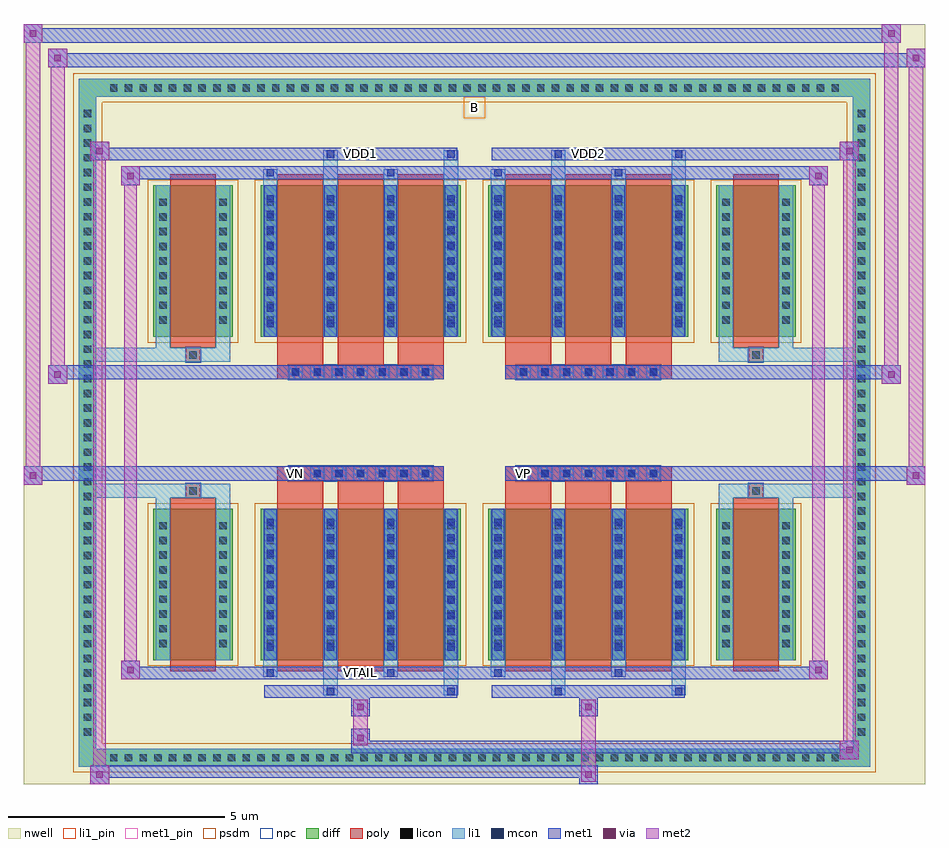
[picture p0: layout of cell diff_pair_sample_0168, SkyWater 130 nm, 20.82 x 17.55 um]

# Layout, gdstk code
import gdstk
lib = gdstk.Library(unit=1e-6, precision=5e-09)
def R(c, l, rs):  # rectangles x0, y0, x1, y1
    for r in rs: c.add(gdstk.rectangle(r[:2], r[2:], *l))
def A(c, l, x, y, w, h, nx, ny, dx, dy):  # array of equal rectangles
    R(c, l, [(x+i*dx, y+j*dy, x+i*dx+w, y+j*dy+h) for i in range(nx) for j in range(ny)])
def P(c, l, *ps):  # polygons
    for p in ps: c.add(gdstk.Polygon(p, *l))
nwell = (64, 20)
diff = (65, 20)
poly = (66, 20)
licon = (66, 44)
li1_pin = (67, 16)
li1 = (67, 20)
mcon = (67, 44)
met1_pin = (68, 16)
met1 = (68, 20)
via = (68, 44)
met2 = (69, 20)
psdm = (94, 20)
npc = (95, 20)

diff_pair_sample_0168 = lib.new_cell('diff_pair_sample_0168')
R(diff_pair_sample_0168, nwell, [(-10.41,-8.34,10.41,9.21), (-7.73,-6.53,-0.01,-0.805), (0.01,-6.53,7.73,-0.805), (-7.73,0.805,-0.01,6.53), (0.01,0.805,7.73,6.53)])
A(diff_pair_sample_0168, diff, -8.535, -7.94, 0.41, 0.41, 50, 2, 0.34, 15.47)
A(diff_pair_sample_0168, diff, -9.14, -7.345, 0.41, 0.41, 1, 43, 0, 0.34)
A(diff_pair_sample_0168, diff, 8.73, -7.345, 0.41, 0.41, 1, 43, 0, 0.34)
R(diff_pair_sample_0168, diff, [(-8.535,-7.94,8.535,-7.53), (-9.14,-7.345,-8.73,7.345), (8.73,-7.345,9.14,7.345), (-7.42,-5.485,-5.58,-1.985), (-4.94,-5.485,-0.32,-1.985), (0.32,-5.485,4.94,-1.985), (5.58,-5.485,7.42,-1.985), (-7.42,1.985,-5.58,5.485), (-4.94,1.985,-0.32,5.485), (0.32,1.985,4.94,5.485), (5.58,1.985,7.42,5.485), (-8.535,7.53,8.535,7.94)])
P(diff_pair_sample_0168, diff, [(9.14,7.94),(-9.14,7.94),(-9.14,-7.53),(-8.73,-7.53),(-8.73,7.53),(8.73,7.53),(8.73,-7.53),(-8.73,-7.53),(-9.14,-7.53),(-9.14,-7.94),(9.14,-7.94)])
A(diff_pair_sample_0168, poly, -4.55, -5.735, 1.06, 4, 3, 2, 1.39, 7.47)
A(diff_pair_sample_0168, poly, 0.71, -5.735, 1.06, 4, 3, 2, 1.39, 7.47)
A(diff_pair_sample_0168, poly, -4.55, -1.735, 1.06, 0.4, 3, 2, 1.39, 3.07)
A(diff_pair_sample_0168, poly, 0.71, -1.735, 1.06, 0.4, 3, 2, 1.39, 3.07)
A(diff_pair_sample_0168, poly, -4.295, -1.335, 0.33, 0.33, 7, 2, 0.5, 2.34)
A(diff_pair_sample_0168, poly, 0.965, -1.335, 0.33, 0.33, 7, 2, 0.5, 2.34)
R(diff_pair_sample_0168, poly, [(-7.03,-5.735,-5.97,-1.735), (5.97,-5.735,7.03,-1.735), (-6.665,-1.735,-6.335,-1.405), (-6.665,-1.735,-6.335,-1.405), (6.335,-1.735,6.665,-1.405), (6.335,-1.735,6.665,-1.405), (-4.55,-1.335,-0.71,-1.005), (0.71,-1.335,4.55,-1.005), (-4.55,1.005,-0.71,1.335), (0.71,1.005,4.55,1.335), (-6.665,1.405,-6.335,1.735), (-6.665,1.405,-6.335,1.735), (6.335,1.405,6.665,1.735), (6.335,1.405,6.665,1.735), (-7.03,1.735,-5.97,5.735), (5.97,1.735,7.03,5.735)])
A(diff_pair_sample_0168, licon, -8.415, -7.82, 0.17, 0.17, 50, 2, 0.34, 15.47)
A(diff_pair_sample_0168, licon, -9.02, -7.225, 0.17, 0.17, 1, 43, 0, 0.34)
A(diff_pair_sample_0168, licon, 8.85, -7.225, 0.17, 0.17, 1, 43, 0, 0.34)
A(diff_pair_sample_0168, licon, -7.28, -5.18, 0.17, 0.17, 1, 9, 0, 0.34)
A(diff_pair_sample_0168, licon, -5.89, -5.18, 0.17, 0.17, 1, 9, 0, 0.34)
A(diff_pair_sample_0168, licon, -4.8, -5.18, 0.17, 0.17, 4, 9, 1.39, 0.34)
A(diff_pair_sample_0168, licon, 0.46, -5.18, 0.17, 0.17, 4, 9, 1.39, 0.34)
A(diff_pair_sample_0168, licon, 5.72, -5.18, 0.17, 0.17, 1, 9, 0, 0.34)
A(diff_pair_sample_0168, licon, 7.11, -5.18, 0.17, 0.17, 1, 9, 0, 0.34)
A(diff_pair_sample_0168, licon, -4.215, -1.255, 0.17, 0.17, 7, 2, 0.5, 2.34)
A(diff_pair_sample_0168, licon, 1.045, -1.255, 0.17, 0.17, 7, 2, 0.5, 2.34)
A(diff_pair_sample_0168, licon, -7.28, 2.29, 0.17, 0.17, 1, 9, 0, 0.34)
A(diff_pair_sample_0168, licon, -5.89, 2.29, 0.17, 0.17, 1, 9, 0, 0.34)
A(diff_pair_sample_0168, licon, -4.8, 2.29, 0.17, 0.17, 4, 9, 1.39, 0.34)
A(diff_pair_sample_0168, licon, 0.46, 2.29, 0.17, 0.17, 4, 9, 1.39, 0.34)
A(diff_pair_sample_0168, licon, 5.72, 2.29, 0.17, 0.17, 1, 9, 0, 0.34)
A(diff_pair_sample_0168, licon, 7.11, 2.29, 0.17, 0.17, 1, 9, 0, 0.34)
R(diff_pair_sample_0168, licon, [(-6.585,-1.655,-6.415,-1.485), (6.415,-1.655,6.585,-1.485), (-6.585,1.485,-6.415,1.655), (6.415,1.485,6.585,1.655)])
R(diff_pair_sample_0168, li1_pin, [(-0.25,7.03,0.25,7.53)])
A(diff_pair_sample_0168, li1, -8.495, -7.9, 0.33, 0.33, 50, 2, 0.34, 15.47)
A(diff_pair_sample_0168, li1, -9.1, -7.305, 0.33, 0.33, 1, 43, 0, 0.34)
A(diff_pair_sample_0168, li1, 8.77, -7.305, 0.33, 0.33, 1, 43, 0, 0.34)
A(diff_pair_sample_0168, li1, -4.88, -5.485, 0.33, 3.5, 4, 2, 1.39, 7.47)
A(diff_pair_sample_0168, li1, 0.38, -5.485, 0.33, 3.5, 4, 2, 1.39, 7.47)
A(diff_pair_sample_0168, li1, -7.36, -5.26, 0.33, 0.33, 1, 9, 0, 0.34)
A(diff_pair_sample_0168, li1, -5.97, -5.26, 0.33, 0.33, 1, 9, 0, 0.34)
A(diff_pair_sample_0168, li1, -4.88, -5.26, 0.33, 0.33, 4, 9, 1.39, 0.34)
A(diff_pair_sample_0168, li1, -4.8, -5.26, 0.17, 0.17, 4, 9, 1.39, 0.36)
A(diff_pair_sample_0168, li1, -4.8, -5.26, 0.17, 3.05, 4, 2, 1.39, 7.47)
A(diff_pair_sample_0168, li1, 0.38, -5.26, 0.33, 0.33, 4, 9, 1.39, 0.34)
A(diff_pair_sample_0168, li1, 0.46, -5.26, 0.17, 0.17, 4, 9, 1.39, 0.36)
A(diff_pair_sample_0168, li1, 0.46, -5.26, 0.17, 3.05, 4, 2, 1.39, 7.47)
A(diff_pair_sample_0168, li1, 5.64, -5.26, 0.33, 0.33, 1, 9, 0, 0.34)
A(diff_pair_sample_0168, li1, 7.03, -5.26, 0.33, 0.33, 1, 9, 0, 0.34)
A(diff_pair_sample_0168, li1, -4.295, -1.335, 0.33, 0.33, 7, 2, 0.5, 2.34)
A(diff_pair_sample_0168, li1, 0.965, -1.335, 0.33, 0.33, 7, 2, 0.5, 2.34)
A(diff_pair_sample_0168, li1, -7.36, 2.21, 0.33, 0.33, 1, 9, 0, 0.34)
A(diff_pair_sample_0168, li1, -5.97, 2.21, 0.33, 0.33, 1, 9, 0, 0.34)
A(diff_pair_sample_0168, li1, -4.88, 2.21, 0.33, 0.33, 4, 9, 1.39, 0.34)
A(diff_pair_sample_0168, li1, -4.8, 2.21, 0.17, 0.17, 4, 9, 1.39, 0.36)
A(diff_pair_sample_0168, li1, 0.38, 2.21, 0.33, 0.33, 4, 9, 1.39, 0.34)
A(diff_pair_sample_0168, li1, 0.46, 2.21, 0.17, 0.17, 4, 9, 1.39, 0.36)
A(diff_pair_sample_0168, li1, 5.64, 2.21, 0.33, 0.33, 1, 9, 0, 0.34)
A(diff_pair_sample_0168, li1, 7.03, 2.21, 0.33, 0.33, 1, 9, 0, 0.34)
R(diff_pair_sample_0168, li1, [(-9.14,-7.94,-8.73,-7.53), (-9.14,-7.94,-8.73,-7.53), (-8.73,-7.94,8.73,-7.53), (8.73,-7.94,9.14,-7.53), (8.73,-7.94,9.14,-7.53), (-9.14,-7.53,-8.73,7.53), (8.73,-7.53,9.14,7.53), (-3.49,-6.29,-3.16,-5.485), (-3.41,-6.29,-3.24,-6.12), (-0.71,-6.29,-0.38,-5.485), (-0.63,-6.29,-0.46,-6.12), (1.77,-6.29,2.1,-5.485), (1.85,-6.29,2.02,-6.12), (4.55,-6.29,4.88,-5.485), (4.63,-6.29,4.8,-6.12), (-4.88,-5.86,-4.55,-5.485), (-4.8,-5.86,-4.63,-5.69), (-2.1,-5.86,-1.77,-5.485), (-2.02,-5.86,-1.85,-5.69), (0.38,-5.86,0.71,-5.485), (0.46,-5.86,0.63,-5.69), (3.16,-5.86,3.49,-5.485), (3.24,-5.86,3.41,-5.69), (-7.36,-5.485,-7.03,-1.985), (-5.97,-5.485,-5.64,-1.985), (5.64,-5.485,5.97,-1.985), (7.03,-5.485,7.36,-1.985), (-7.36,-1.985,-7.03,-1.405), (-5.97,-1.985,-5.64,-1.405), (5.64,-1.985,5.97,-1.405), (7.03,-1.985,7.36,-1.405), (-9.14,-1.735,-6.665,-1.405), (-7.36,-1.735,-6.665,-1.405), (-6.665,-1.735,-6.335,-1.405), (-6.335,-1.735,-5.64,-1.405), (5.64,-1.735,6.335,-1.405), (6.335,-1.735,6.665,-1.405), (6.335,-1.735,9.14,-1.405), (6.665,-1.735,7.36,-1.405), (-9.14,1.405,-6.665,1.735), (-7.36,1.405,-6.665,1.735), (-7.36,1.405,-7.03,1.985), (-6.665,1.405,-6.335,1.735), (-6.335,1.405,-5.64,1.735), (-5.97,1.405,-5.64,1.985), (5.64,1.405,6.335,1.735), (5.64,1.405,5.97,1.985), (6.335,1.405,6.665,1.735), (6.335,1.405,9.14,1.735), (6.665,1.405,7.36,1.735), (7.03,1.405,7.36,1.985), (-7.36,1.985,-7.03,5.485), (-5.97,1.985,-5.64,5.485), (5.64,1.985,5.97,5.485), (7.03,1.985,7.36,5.485), (-4.88,5.485,-4.55,5.86), (-3.49,5.485,-3.16,6.29), (-2.1,5.485,-1.77,5.86), (-0.71,5.485,-0.38,6.29), (0.38,5.485,0.71,5.86), (1.77,5.485,2.1,6.29), (3.16,5.485,3.49,5.86), (4.55,5.485,4.88,6.29), (-4.8,5.69,-4.63,5.86), (-2.02,5.69,-1.85,5.86), (0.46,5.69,0.63,5.86), (3.24,5.69,3.41,5.86), (-3.41,6.12,-3.24,6.29), (-0.63,6.12,-0.46,6.29), (1.85,6.12,2.02,6.29), (4.63,6.12,4.8,6.29), (-9.14,7.53,-8.73,7.94), (-9.14,7.53,-8.73,7.94), (-8.73,7.53,8.73,7.94), (8.73,7.53,9.14,7.94), (8.73,7.53,9.14,7.94)])
A(diff_pair_sample_0168, mcon, -4.8, -5.26, 0.17, 0.17, 4, 9, 1.39, 0.36)
A(diff_pair_sample_0168, mcon, 0.46, -5.26, 0.17, 0.17, 4, 9, 1.39, 0.36)
A(diff_pair_sample_0168, mcon, -4.215, -1.255, 0.17, 0.17, 7, 2, 0.5, 2.34)
A(diff_pair_sample_0168, mcon, 1.045, -1.255, 0.17, 0.17, 7, 2, 0.5, 2.34)
A(diff_pair_sample_0168, mcon, -4.8, 2.21, 0.17, 0.17, 4, 9, 1.39, 0.36)
A(diff_pair_sample_0168, mcon, 0.46, 2.21, 0.17, 0.17, 4, 9, 1.39, 0.36)
R(diff_pair_sample_0168, mcon, [(-3.41,-6.29,-3.24,-6.12), (-0.63,-6.29,-0.46,-6.12), (1.85,-6.29,2.02,-6.12), (4.63,-6.29,4.8,-6.12), (-4.8,-5.86,-4.63,-5.69), (-2.02,-5.86,-1.85,-5.69), (0.46,-5.86,0.63,-5.69), (3.24,-5.86,3.41,-5.69), (-4.8,5.69,-4.63,5.86), (-2.02,5.69,-1.85,5.86), (0.46,5.69,0.63,5.86), (3.24,5.69,3.41,5.86), (-3.41,6.12,-3.24,6.29), (-0.63,6.12,-0.46,6.29), (1.85,6.12,2.02,6.29), (4.63,6.12,4.8,6.29)])
R(diff_pair_sample_0168, met1_pin, [(-2.765,-5.9,-2.495,-5.63), (-4.265,-1.295,-3.995,-1.025), (0.995,-1.295,1.265,-1.025), (-2.765,6.08,-2.495,6.35), (2.495,6.08,2.765,6.35)])
A(diff_pair_sample_0168, met1, -4.86, -5.485, 0.29, 3.5, 4, 2, 1.39, 7.47)
A(diff_pair_sample_0168, met1, 0.4, -5.485, 0.29, 3.5, 4, 2, 1.39, 7.47)
A(diff_pair_sample_0168, met1, -4.86, -5.32, 0.29, 0.29, 4, 9, 1.39, 0.36)
A(diff_pair_sample_0168, met1, 0.4, -5.32, 0.29, 0.29, 4, 9, 1.39, 0.36)
A(diff_pair_sample_0168, met1, -4.275, -1.315, 0.29, 0.29, 7, 2, 0.5, 2.34)
A(diff_pair_sample_0168, met1, 0.985, -1.315, 0.29, 0.29, 7, 2, 0.5, 2.34)
A(diff_pair_sample_0168, met1, -4.86, 2.15, 0.29, 0.29, 4, 9, 1.39, 0.36)
A(diff_pair_sample_0168, met1, 0.4, 2.15, 0.29, 0.29, 4, 9, 1.39, 0.36)
R(diff_pair_sample_0168, met1, [(-8.87,-8.34,-8.44,-7.91), (2.415,-8.34,2.845,-7.91), (-8.87,-8.2,2.845,-7.91), (8.44,-7.77,8.87,-7.34), (-2.845,-7.63,8.87,-7.34), (-2.845,-7.49,-2.415,-7.06), (-2.845,-6.78,-2.415,-6.35), (2.415,-6.78,2.845,-6.35), (-4.86,-6.35,-0.4,-6.06), (-3.47,-6.35,-3.18,-6.06), (-0.69,-6.35,-0.4,-6.06), (0.4,-6.35,4.86,-6.06), (1.79,-6.35,2.08,-6.06), (4.57,-6.35,4.86,-6.06), (-8.16,-5.92,-7.73,-5.49), (-8.16,-5.92,-4.86,-5.63), (-4.86,-5.92,-4.57,-5.63), (-4.86,-5.92,-0.4,-5.63), (-2.08,-5.92,-1.79,-5.63), (-0.4,-5.92,0.4,-5.63), (0.4,-5.92,0.69,-5.63), (0.4,-5.92,4.86,-5.63), (3.18,-5.92,3.47,-5.63), (4.86,-5.92,8.16,-5.63), (7.73,-5.92,8.16,-5.49), (-10.41,-1.435,-9.98,-1.005), (9.98,-1.435,10.41,-1.005), (-10.41,-1.335,-0.71,-1.005), (-4.55,-1.335,-0.71,-1.005), (0.71,-1.335,4.55,-1.005), (0.71,-1.335,10.41,-1.005), (-9.84,0.905,-9.41,1.335), (9.41,0.905,9.84,1.335), (-9.84,1.005,-4.55,1.335), (-4.55,1.005,-0.71,1.335), (0.71,1.005,4.55,1.335), (4.55,1.005,9.84,1.335), (-8.16,5.49,-7.73,5.92), (7.73,5.49,8.16,5.92), (-8.16,5.63,-4.86,5.92), (-4.86,5.63,-4.57,5.92), (-4.86,5.63,-0.4,5.92), (-2.08,5.63,-1.79,5.92), (-0.4,5.63,0.4,5.92), (0.4,5.63,0.69,5.92), (0.4,5.63,4.86,5.92), (3.18,5.63,3.47,5.92), (4.86,5.63,8.16,5.92), (-8.87,6.06,-8.44,6.49), (-8.87,6.06,-4.86,6.35), (-4.86,6.06,-0.4,6.35), (-3.47,6.06,-3.18,6.35), (-0.69,6.06,-0.4,6.35), (0.4,6.06,4.86,6.35), (1.79,6.06,2.08,6.35), (4.57,6.06,4.86,6.35), (4.86,6.06,8.87,6.35), (8.44,6.06,8.87,6.49), (-9.84,8.21,-9.41,8.64), (-9.84,8.21,-7.73,8.54), (-7.73,8.21,7.73,8.54), (7.73,8.21,10.41,8.54), (9.98,8.21,10.41,8.64), (-10.41,8.78,-9.98,9.21), (-10.41,8.78,-7.73,9.11), (-7.73,8.78,7.73,9.11), (7.73,8.78,9.84,9.11), (9.41,8.78,9.84,9.21)])
R(diff_pair_sample_0168, via, [(-8.73,-8.2,-8.58,-8.05), (2.555,-8.2,2.705,-8.05), (8.58,-7.63,8.73,-7.48), (-2.705,-7.35,-2.555,-7.2), (-2.705,-6.64,-2.555,-6.49), (2.555,-6.64,2.705,-6.49), (-8.02,-5.78,-7.87,-5.63), (7.87,-5.78,8.02,-5.63), (-10.27,-1.295,-10.12,-1.145), (10.12,-1.295,10.27,-1.145), (-9.7,1.045,-9.55,1.195), (9.55,1.045,9.7,1.195), (-8.02,5.63,-7.87,5.78), (7.87,5.63,8.02,5.78), (-8.73,6.2,-8.58,6.35), (8.58,6.2,8.73,6.35), (-9.7,8.35,-9.55,8.5), (10.12,8.35,10.27,8.5), (-10.27,8.92,-10.12,9.07), (9.55,8.92,9.7,9.07)])
R(diff_pair_sample_0168, met2, [(-8.87,-8.34,-8.44,-7.91), (-8.8,-8.34,-8.51,6.49), (-8.51,-8.34,-8.44,-7.91), (-8.82,-8.29,-8.49,-7.96), (2.465,-8.29,2.795,-7.96), (2.465,-7.96,2.795,-6.73), (8.44,-7.77,8.87,-7.34), (8.51,-7.77,8.8,6.49), (8.8,-7.77,8.87,-7.34), (8.49,-7.72,8.82,-7.39), (-2.795,-7.44,-2.465,-7.11), (-2.795,-7.11,-2.465,-6.73), (-2.795,-6.73,-2.465,-6.4), (2.465,-6.73,2.795,-6.4), (-8.16,-5.92,-7.73,-5.49), (-8.09,-5.92,-7.8,5.92), (-7.8,-5.92,-7.73,-5.49), (7.73,-5.92,8.16,-5.49), (7.8,-5.92,8.09,5.92), (8.09,-5.92,8.16,-5.49), (-8.11,-5.87,-7.78,-5.54), (7.78,-5.87,8.11,-5.54), (-10.41,-1.435,-9.98,-1.005), (-10.36,-1.435,-10.03,9.21), (-10.03,-1.435,-9.98,-1.005), (9.98,-1.435,10.41,-1.005), (10.03,-1.435,10.36,8.64), (10.36,-1.435,10.41,-1.005), (-10.36,-1.385,-10.03,-1.055), (10.03,-1.385,10.36,-1.055), (-9.84,0.905,-9.41,1.335), (-9.79,0.905,-9.46,8.64), (-9.46,0.905,-9.41,1.335), (9.41,0.905,9.84,1.335), (9.46,0.905,9.79,9.21), (9.79,0.905,9.84,1.335), (-9.79,0.955,-9.46,1.285), (9.46,0.955,9.79,1.285), (-8.16,5.49,-7.73,5.92), (-7.8,5.49,-7.73,5.92), (7.73,5.49,8.16,5.92), (8.09,5.49,8.16,5.92), (-8.11,5.54,-7.78,5.87), (7.78,5.54,8.11,5.87), (-8.87,6.06,-8.44,6.49), (-8.51,6.06,-8.44,6.49), (8.44,6.06,8.87,6.49), (8.8,6.06,8.87,6.49), (-8.82,6.11,-8.49,6.44), (8.49,6.11,8.82,6.44), (-9.84,8.21,-9.41,8.64), (-9.46,8.21,-9.41,8.64), (9.98,8.21,10.41,8.64), (10.36,8.21,10.41,8.64), (-9.79,8.26,-9.46,8.59), (10.03,8.26,10.36,8.59), (-10.41,8.78,-9.98,9.21), (-10.03,8.78,-9.98,9.21), (9.41,8.78,9.84,9.21), (9.79,8.78,9.84,9.21), (-10.36,8.83,-10.03,9.16), (9.46,8.83,9.79,9.16)])
R(diff_pair_sample_0168, psdm, [(-7.55,-5.615,-5.45,-1.855), (-5.07,-5.615,-0.19,-1.855), (0.19,-5.615,5.07,-1.855), (5.45,-5.615,7.55,-1.855), (-7.55,1.855,-5.45,5.615), (-5.07,1.855,-0.19,5.615), (0.19,1.855,5.07,5.615), (5.45,1.855,7.55,5.615)])
P(diff_pair_sample_0168, psdm, [(9.27,8.07),(-9.27,8.07),(-9.27,-7.4),(-8.6,-7.4),(-8.6,7.4),(8.6,7.4),(8.6,-7.4),(-8.6,-7.4),(-9.27,-7.4),(-9.27,-8.07),(9.27,-8.07)])
A(diff_pair_sample_0168, npc, -4.315, -1.355, 0.37, 0.37, 7, 2, 0.5, 2.34)
A(diff_pair_sample_0168, npc, 0.945, -1.355, 0.37, 0.37, 7, 2, 0.5, 2.34)
R(diff_pair_sample_0168, npc, [(-6.685,-1.755,-6.315,-1.385), (6.315,-1.755,6.685,-1.385), (-4.315,-1.355,-3.445,-0.985), (-4.315,-1.355,-3.445,-0.985), (-3.815,-1.355,-2.945,-0.985), (-3.815,-1.355,-2.945,-0.985), (-3.315,-1.355,-2.445,-0.985), (-3.315,-1.355,-2.445,-0.985), (-2.815,-1.355,-1.945,-0.985), (-2.815,-1.355,-1.945,-0.985), (-2.315,-1.355,-1.445,-0.985), (-2.315,-1.355,-1.445,-0.985), (-1.815,-1.355,-0.945,-0.985), (-1.815,-1.355,-0.945,-0.985), (0.945,-1.355,1.815,-0.985), (0.945,-1.355,1.815,-0.985), (1.445,-1.355,2.315,-0.985), (1.445,-1.355,2.315,-0.985), (1.945,-1.355,2.815,-0.985), (1.945,-1.355,2.815,-0.985), (2.445,-1.355,3.315,-0.985), (2.445,-1.355,3.315,-0.985), (2.945,-1.355,3.815,-0.985), (2.945,-1.355,3.815,-0.985), (3.445,-1.355,4.315,-0.985), (3.445,-1.355,4.315,-0.985), (-4.315,0.985,-3.445,1.355), (-4.315,0.985,-3.445,1.355), (-3.815,0.985,-2.945,1.355), (-3.815,0.985,-2.945,1.355), (-3.315,0.985,-2.445,1.355), (-3.315,0.985,-2.445,1.355), (-2.815,0.985,-1.945,1.355), (-2.815,0.985,-1.945,1.355), (-2.315,0.985,-1.445,1.355), (-2.315,0.985,-1.445,1.355), (-1.815,0.985,-0.945,1.355), (-1.815,0.985,-0.945,1.355), (0.945,0.985,1.815,1.355), (0.945,0.985,1.815,1.355), (1.445,0.985,2.315,1.355), (1.445,0.985,2.315,1.355), (1.945,0.985,2.815,1.355), (1.945,0.985,2.815,1.355), (2.445,0.985,3.315,1.355), (2.445,0.985,3.315,1.355), (2.945,0.985,3.815,1.355), (2.945,0.985,3.815,1.355), (3.445,0.985,4.315,1.355), (3.445,0.985,4.315,1.355), (-6.685,1.385,-6.315,1.755), (6.315,1.385,6.685,1.755)])
diff_pair_sample_0168.add(gdstk.Label('VTAIL', (-2.63,-5.765), layer=68, texttype=5))
diff_pair_sample_0168.add(gdstk.Label('VN', (-4.13,-1.16), layer=68, texttype=5))
diff_pair_sample_0168.add(gdstk.Label('VP', (1.13,-1.16), layer=68, texttype=5))
diff_pair_sample_0168.add(gdstk.Label('B', (0,7.28), layer=67, texttype=5))
diff_pair_sample_0168.add(gdstk.Label('VDD2', (2.63,6.215), layer=68, texttype=5))
diff_pair_sample_0168.add(gdstk.Label('VDD1', (-2.63,6.215), layer=68, texttype=5))

lib.write_gds('diff_pair_sample_0168.gds')
